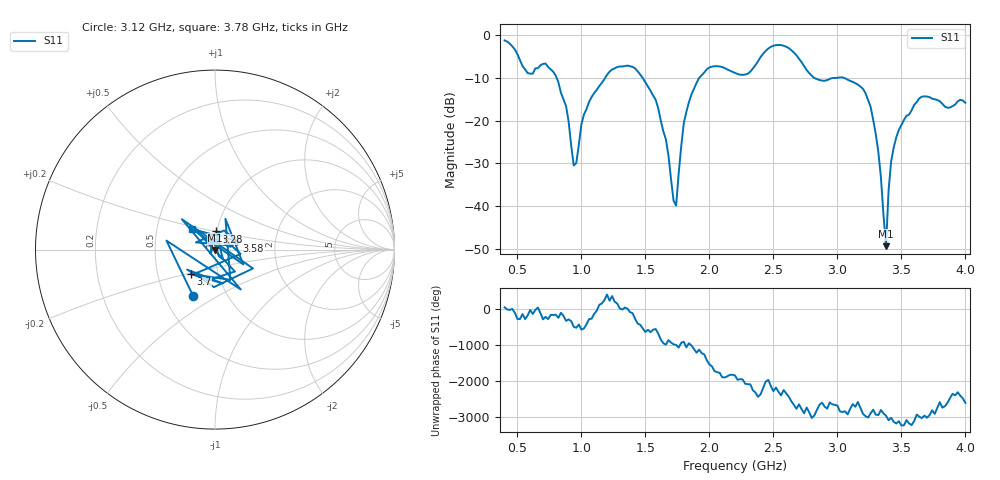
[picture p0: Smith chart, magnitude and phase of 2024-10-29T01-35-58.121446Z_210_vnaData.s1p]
!Created with skrf (http://scikit-rf.org).
# Hz S RI R 50.0
!freq ReS11 ImS11
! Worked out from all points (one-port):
!   181 points, 400 MHz to 4 GHz, reference 50 ohm
!   lowest |S11| = -49.4 dB at 3.38 GHz (marker M1), VSWR 1.01, Z = 50.1 - j0.334 ohm
!   |S11| at or under -10 dB: 806.9 MHz to 1.185 GHz (378 MHz wide, 38 % of centre); 1.479 GHz to 1.919 GHz (440.2 MHz wide, 25.9 % of centre); 3.053 GHz to end of sweep (the widest 3 of 4)
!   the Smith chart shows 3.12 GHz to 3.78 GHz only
!   S11 on the Smith chart (normalised r, x): 3.12 GHz: 0.69, -0.39; 3.28 GHz: 0.99, +0.20; 3.58 GHz: 1.27, +0.13; 3.7 GHz: 0.74, -0.21; 3.78 GHz: 0.75, +0.18
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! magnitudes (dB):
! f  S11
! 400 MHz  -1.2
! 580 MHz  -8.8
! 720 MHz  -6.6
! 860 MHz  -15.0
! 940 MHz  -30.5
! 1.06 GHz  -15.6
! 1.3 GHz  -7.3
! 1.58 GHz  -15.1
! 1.74 GHz  -39.9
! 1.76 GHz  -32.3
! 1.8 GHz  -20.6
! 1.92 GHz  -10.0
! 2.2 GHz  -8.8
! 2.5 GHz  -2.4
! 2.66 GHz  -4.0
! 2.82 GHz  -10.0
! 3.1 GHz  -10.7
! 3.12 GHz  -10.9
! 3.28 GHz  -19.9
! 3.32 GHz  -27.4
! 3.38 GHz  -49.4
! 3.4 GHz  -36.3
! 3.42 GHz  -29.5
! 3.56 GHz  -18.6
! 3.58 GHz  -17.6
! 3.7 GHz  -14.3
! 3.78 GHz  -15.1
! 4 GHz  -15.8
